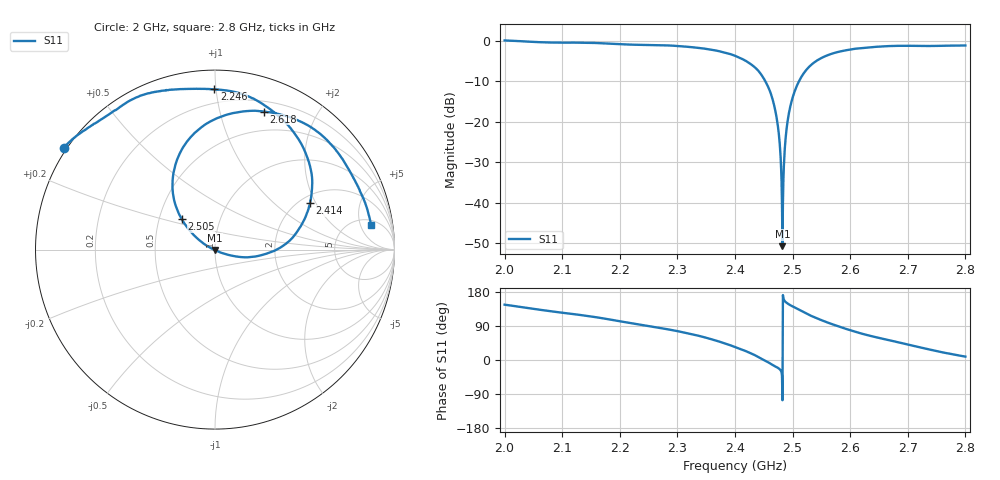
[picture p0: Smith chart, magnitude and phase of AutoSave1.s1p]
!Agilent N9923A: A.05.17
!Date: Sunday, 01 January 2006 12:09:36
!Model: N9923A
!Serial: MY50371189
!CHECKSUM:0448744002
!Correction: S11(ON U)
!S1P File: Measurement: S11:
# Hz S DB R 50
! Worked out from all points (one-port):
!   1001 points, 2 GHz to 2.8 GHz, reference 50 ohm
!   lowest |S11| = -50.8 dB at 2.482 GHz (marker M1), VSWR 1.01, Z = 49.9 - j0.276 ohm
!   |S11| at or under -10 dB: 2.453 GHz to 2.511 GHz (58.14 MHz wide, 2.34 % of centre)
!   S11 on the Smith chart (normalised r, x): 2 GHz: -0.01, +0.31; 2.246 GHz: 0.11, +0.99; 2.414 GHz: 2.26, +1.80; 2.505 GHz: 0.65, +0.24; 2.618 GHz: 0.30, +1.37; 2.8 GHz: 6.27, +7.70
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2e9  0.14 146.0
2.1e9  -0.41 124.7
2.2e9  -0.77 102.3
2.2464e9  -0.99 90.3
2.3e9  -1.23 76.3
2.3496e9  -1.94 58.8
2.4e9  -3.66 34.4
2.4144e9  -4.59 26.2
2.4424e9  -7.70 6.2
2.4624e9  -13.11 -10.2
2.4688e9  -16.46 -16.1
2.4736e9  -20.20 -19.9
2.4768e9  -24.01 -23.2
2.4792e9  -28.75 -27.7
2.4824e9  -50.81 -106.2
2.4856e9  -28.71 157.0
2.488e9  -23.86 153.1
2.4912e9  -19.95 149.2
2.5e9  -14.04 141.3
2.5048e9  -12.00 137.6
2.5192e9  -8.01 126.3
2.5376e9  -5.29 112.8
2.568e9  -3.15 94.9
2.6e9  -2.10 78.6
2.6176e9  -1.77 70.6
2.6608e9  -1.29 54.5
2.7e9  -1.18 40.9
2.8e9  -1.10 9.0
